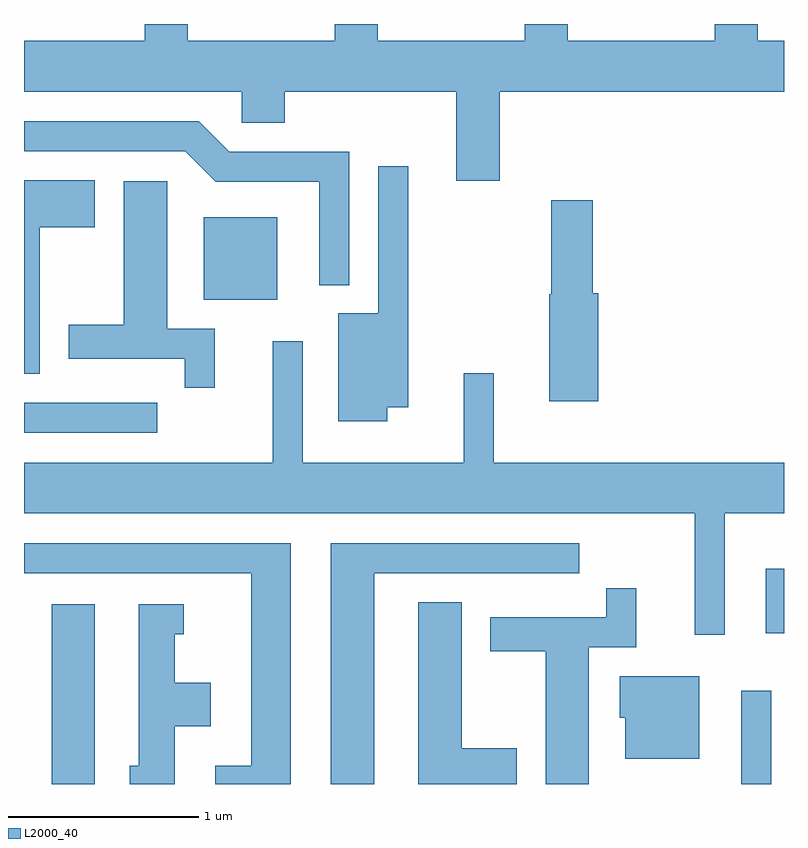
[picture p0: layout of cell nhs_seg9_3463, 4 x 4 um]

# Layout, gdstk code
import gdstk
lib = gdstk.Library(unit=1e-6, precision=1e-09)
def R(c, l, rs):  # rectangles x0, y0, x1, y1
    for r in rs: c.add(gdstk.rectangle(r[:2], r[2:], *l))
def P(c, l, *ps):  # polygons
    for p in ps: c.add(gdstk.Polygon(p, *l))
L2000_40 = (2000, 40)

nhs_seg9_3463 = lib.new_cell('nhs_seg9_3463')
R(nhs_seg9_3463, L2000_40, [(287.756,1950.432,287.984,1951.379), (291.386,1950.432,291.544,1950.923), (291.516,1951.226,291.611,1951.564), (287.611,1952.281,288.313,1952.439), (288.556,1952.981,288.944,1953.414)])
P(nhs_seg9_3463, L2000_40, [(290.114,1954.076),(291.611,1954.076),(291.611,1954.344),(291.474,1954.344),(291.474,1954.432),(291.246,1954.432),(291.246,1954.344),(290.474,1954.344),(290.474,1954.432),(290.246,1954.432),(290.246,1954.344),(289.474,1954.344),(289.474,1954.432),(289.246,1954.432),(289.246,1954.344),(288.474,1954.344),(288.474,1954.432),(288.246,1954.432),(288.246,1954.344),(287.611,1954.344),(287.611,1954.076),(288.756,1954.076),(288.756,1953.911),(288.984,1953.911),(288.984,1954.076),(289.886,1954.076),(289.886,1953.606),(290.114,1953.606)],
  [(289.324,1953.759),(288.692,1953.759),(288.532,1953.919),(287.611,1953.919),(287.611,1953.761),(288.459,1953.761),(288.619,1953.601),(289.166,1953.601),(289.166,1953.058),(289.324,1953.058)],
  [(289.524,1952.416),(289.634,1952.416),(289.634,1953.683),(289.476,1953.683),(289.476,1952.909),(289.266,1952.909),(289.266,1952.341),(289.524,1952.341)],
  [(287.694,1953.361),(287.984,1953.361),(287.984,1953.609),(287.611,1953.609),(287.611,1952.591),(287.694,1952.591)],
  [(288.614,1952.829),(288.364,1952.829),(288.364,1953.604),(288.136,1953.604),(288.136,1952.849),(287.846,1952.849),(287.846,1952.671),(288.456,1952.671),(288.456,1952.518),(288.614,1952.518)],
  [(290.634,1953.014),(290.604,1953.014),(290.604,1953.504),(290.386,1953.504),(290.386,1953.01),(290.376,1953.01),(290.376,1952.446),(290.634,1952.446)],
  [(291.299,1951.856),(291.611,1951.856),(291.611,1952.124),(290.084,1952.124),(290.084,1952.593),(289.926,1952.593),(289.926,1952.124),(289.079,1952.124),(289.079,1952.763),(288.921,1952.763),(288.921,1952.124),(287.611,1952.124),(287.611,1951.856),(291.141,1951.856),(291.141,1951.218),(291.299,1951.218)],
  [(289.454,1951.541),(290.533,1951.541),(290.533,1951.699),(289.226,1951.699),(289.226,1950.432),(289.454,1950.432)],
  [(289.014,1951.699),(287.611,1951.699),(287.611,1951.541),(288.806,1951.541),(288.806,1950.529),(288.618,1950.529),(288.618,1950.432),(289.014,1950.432)],
  [(290.584,1951.151),(290.834,1951.151),(290.834,1951.463),(290.676,1951.463),(290.676,1951.309),(290.066,1951.309),(290.066,1951.131),(290.356,1951.131),(290.356,1950.432),(290.584,1950.432)],
  [(290.204,1950.619),(289.914,1950.619),(289.914,1951.389),(289.686,1951.389),(289.686,1950.432),(290.204,1950.432)],
  [(288.404,1950.736),(288.594,1950.736),(288.594,1950.964),(288.404,1950.964),(288.404,1951.221),(288.453,1951.221),(288.453,1951.379),(288.216,1951.379),(288.216,1950.529),(288.168,1950.529),(288.168,1950.432),(288.404,1950.432)],
  [(291.164,1950.999),(290.746,1950.999),(290.746,1950.781),(290.776,1950.781),(290.776,1950.566),(291.164,1950.566)])

lib.write_gds('nhs_seg9_3463.gds')
